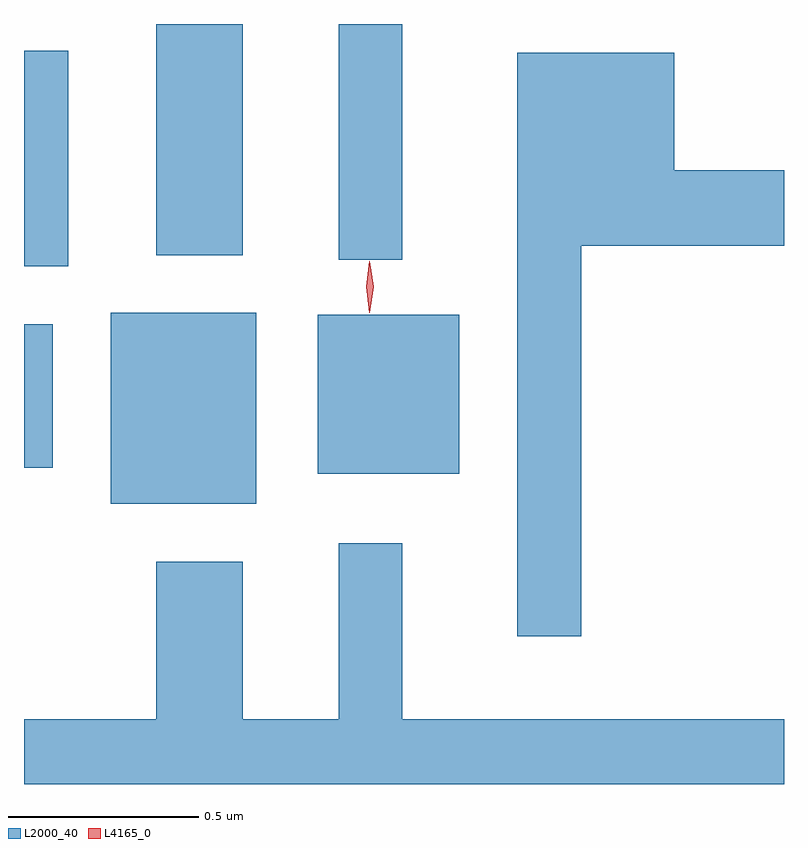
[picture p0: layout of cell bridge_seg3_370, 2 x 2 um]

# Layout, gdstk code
import gdstk
lib = gdstk.Library(unit=1e-6, precision=1e-09)
def R(c, l, rs):  # rectangles x0, y0, x1, y1
    for r in rs: c.add(gdstk.rectangle(r[:2], r[2:], *l))
def P(c, l, *ps):  # polygons
    for p in ps: c.add(gdstk.Polygon(p, *l))
L2000_40 = (2000, 40)
L4165_0 = (4165, 0)

bridge_seg3_370 = lib.new_cell('bridge_seg3_370')
R(bridge_seg3_370, L2000_40, [(666.151,1228.971,666.534,1229.474), (666.696,1229.051,667.069,1229.469), (665.923,1229.066,665.999,1229.444), (665.923,1229.596,666.039,1230.164), (666.751,1229.613,666.919,1230.234), (666.271,1229.626,666.499,1230.234)])
P(bridge_seg3_370, L2000_40, [(667.389,1229.651),(667.923,1229.651),(667.923,1229.849),(667.634,1229.849),(667.634,1230.159),(667.221,1230.159),(667.221,1228.623),(667.389,1228.623)],
  [(667.923,1228.404),(666.919,1228.404),(666.919,1228.868),(666.751,1228.868),(666.751,1228.404),(666.499,1228.404),(666.499,1228.819),(666.271,1228.819),(666.271,1228.404),(665.923,1228.404),(665.923,1228.234),(667.923,1228.234)])
P(bridge_seg3_370, L4165_0, [(666.832,1229.474),(666.823,1229.542),(666.832,1229.61),(666.833,1229.61),(666.833,1229.61),(666.843,1229.542),(666.833,1229.474),(666.833,1229.474)],
  [(666.832,1229.478),(666.823,1229.542),(666.832,1229.607),(666.833,1229.607),(666.833,1229.607),(666.843,1229.542),(666.833,1229.478),(666.833,1229.478)])

lib.write_gds('bridge_seg3_370.gds')
